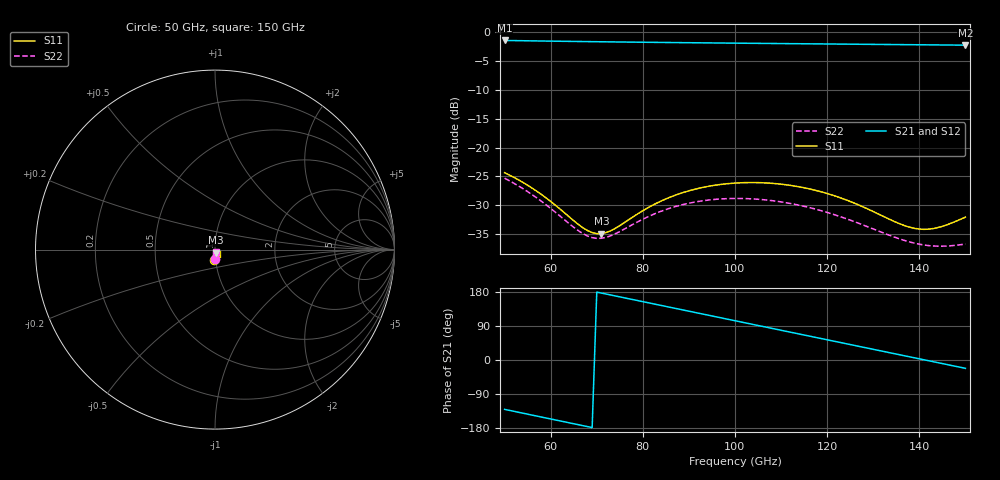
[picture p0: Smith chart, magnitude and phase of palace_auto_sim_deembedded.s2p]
! Created with skrf 1.11.0 (http://scikit-rf.org).
# GHz S DB R 50.0
!freq dBS11 angS11 dBS21 angS21 dBS12 angS12 dBS22 angS22
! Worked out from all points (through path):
!   101 points, 50 GHz to 150 GHz, reference 50 ohm
!   highest |S21| = -1.50 dB at 50 GHz (marker M1); lowest = -2.3 dB at 150 GHz (marker M2)
!   group delay of S21, straight-line fit = 6.99 ps
!   lowest |S11| = -34.9 dB at 71 GHz (marker M3), VSWR 1.04, Z = 50.6 - j1.71 ohm
!   |S11| at or under -10 dB: start of sweep to end of sweep
!   |S22| runs from -37.0 to -25.3 dB; largest |S21 - S12| = 1.3e-14
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50  -24.35 -95.8  -1.50 -130.3  -1.50 -130.3  -25.31 -92.8
55  -26.52 -102.8  -1.56 -142.9  -1.56 -142.9  -27.63 -99.0
59  -28.70 -105.6  -1.61 -153.1  -1.61 -153.1  -29.90 -100.8
63  -31.29 -103.2  -1.65 -163.2  -1.65 -163.2  -32.49 -97.2
67  -33.87 -91.3  -1.69 -173.3  -1.69 -173.3  -34.88 -84.6
69  -34.70 -81.0  -1.71 -178.3  -1.71 -178.3  -35.57 -74.8
71  -34.88 -69.2  -1.73 176.6  -1.73 176.6  -35.68 -64.3
73  -34.39 -58.6  -1.75 171.6  -1.75 171.6  -35.26 -55.1
77  -32.44 -46.0  -1.79 161.5  -1.79 161.5  -33.65 -44.1
84  -29.23 -44.1  -1.85 143.9  -1.85 143.9  -31.00 -42.3
92  -27.07 -53.6  -1.91 123.8  -1.91 123.8  -29.33 -51.0
100  -26.15 -66.6  -1.97 103.6  -1.97 103.6  -28.80 -62.9
104  -26.05 -73.5  -2.00 93.6  -2.00 93.6  -28.89 -69.2
108  -26.19 -80.2  -2.03 83.5  -2.03 83.5  -29.18 -75.3
112  -26.54 -86.8  -2.06 73.5  -2.06 73.5  -29.67 -81.1
117  -27.31 -94.2  -2.09 60.9  -2.09 60.9  -30.55 -87.6
126  -29.64 -103.0  -2.15 38.3  -2.15 38.3  -32.84 -95.0
134  -32.57 -99.4  -2.21 18.2  -2.21 18.2  -35.30 -93.2
138  -33.79 -90.4  -2.24 8.1  -2.24 8.1  -36.34 -88.3
142  -34.11 -77.8  -2.26 -1.9  -2.26 -1.9  -36.94 -81.4
145  -33.62 -69.0  -2.28 -9.4  -2.28 -9.4  -37.05 -76.1
150  -32.03 -60.3  -2.32 -22.0  -2.32 -22.0  -36.68 -69.2
